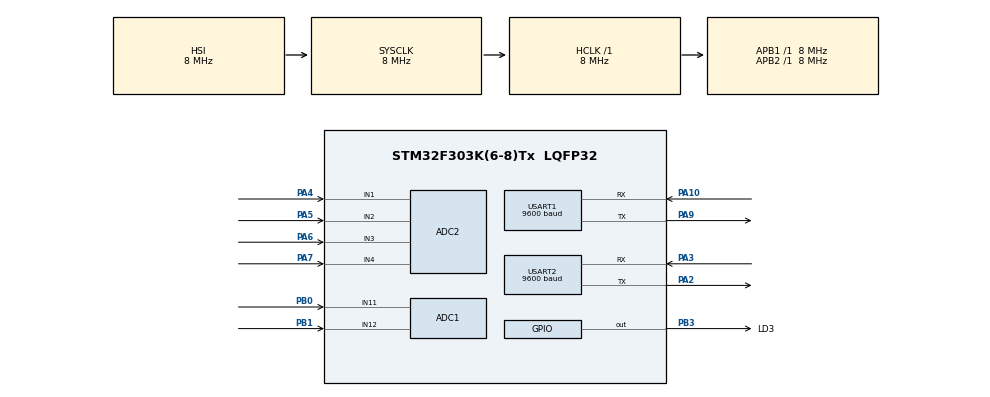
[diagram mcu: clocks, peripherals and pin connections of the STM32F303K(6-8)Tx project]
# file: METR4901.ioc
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ADC1.Channel-52\#ChannelRegularConversion=ADC_CHANNEL_12
ADC1.NbrOfConversionFlag=1
ADC1.Offset-52\#ChannelRegularConversion=0
ADC1.OffsetNumber-52\#ChannelRegularConversion=ADC_OFFSET_NONE
ADC1.Rank-52\#ChannelRegularConversion=1
ADC1.SamplingTime-52\#ChannelRegularConversion=ADC_SAMPLETIME_1CYCLE_5
ADC1.SubFamily=STM32F303x8
ADC1.master=1
ADC2.Channel-10\#ChannelRegularConversion=ADC_CHANNEL_1
ADC2.NbrOfConversionFlag=1
ADC2.Offset-10\#ChannelRegularConversion=0
ADC2.OffsetNumber-10\#ChannelRegularConversion=ADC_OFFSET_NONE
ADC2.Rank-10\#ChannelRegularConversion=1
ADC2.SamplingTime-10\#ChannelRegularConversion=ADC_SAMPLETIME_1CYCLE_5
ADC2.SubFamily=STM32F303x8
FREERTOS.BinarySemaphores01=UART1BinarySem,Dynamic,NULL
FREERTOS.Queues01=UART1Queue,8,uint8_t,0,Dynamic,NULL,NULL;UART2Queue,8,uint8_t,0,Dynamic,NULL,NULL
FREERTOS.Tasks01=defaultTask,0,256,StartDefaultTask,Default,NULL,Dynamic,NULL,NULL
FREERTOS.configMINIMAL_STACK_SIZE=256
FREERTOS.configTOTAL_HEAP_SIZE=4096
Mcu.Family=STM32F3
Mcu.Name=STM32F303K(6-8)Tx
Mcu.Package=LQFP32
NVIC.PriorityGroup=NVIC_PRIORITYGROUP_4
NVIC.TIM1_UP_TIM16_IRQn=true\:0\:0\:false\:false\:true\:false\:false
NVIC.TimeBase=TIM1_UP_TIM16_IRQn
NVIC.TimeBaseIP=TIM1
NVIC.USART1_IRQn=true\:5\:0\:false\:false\:true\:true\:true
NVIC.USART2_IRQn=true\:5\:0\:false\:false\:true\:true\:true
PA10.Mode=Asynchronous
PA10.Signal=USART1_RX
PA2.Mode=Asynchronous
PA2.Signal=USART2_TX
PA3.Mode=Asynchronous
PA3.Signal=USART2_RX
PA4.Mode=IN1-Single-Ended
PA4.Signal=ADC2_IN1
PA5.Mode=IN2-Single-Ended
PA5.Signal=ADC2_IN2
PA6.Mode=IN3-Single-Ended
PA6.Signal=ADC2_IN3
PA7.Mode=IN4-Single-Ended
PA7.Signal=ADC2_IN4
PA9.Mode=Asynchronous
PA9.Signal=USART1_TX
PB0.Mode=IN11-Single-Ended
PB0.Signal=ADC1_IN11
PB1.Mode=IN12-Single-Ended
PB1.Signal=ADC1_IN12
PB3.GPIO_Label=LD3
PB3.Signal=GPIO_Output
ProjectManager.HeapSize=0x200
ProjectManager.StackSize=0x400
ProjectManager.TargetToolchain=SW4STM32
RCC.AHBFreq_Value=8000000
RCC.APB1Freq_Value=8000000
RCC.APB2Freq_Value=8000000
RCC.CortexFreq_Value=8000000
RCC.HSE_VALUE=8000000
RCC.HSI_VALUE=8000000
RCC.PLLMUL=RCC_PLL_MUL4
RCC.SYSCLKFreq_VALUE=8000000
USART1.BaudRate=9600
USART1.VirtualMode-Asynchronous=VM_ASYNC
USART1.WordLength=WORDLENGTH_8B
USART2.BaudRate=9600
USART2.VirtualMode-Asynchronous=VM_ASYNC
USART2.WordLength=WORDLENGTH_8B
VP_FREERTOS_VS_ENABLE.Mode=Enabled
VP_SYS_VS_tim1.Mode=TIM1
board=METR4901

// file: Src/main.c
/**
  ******************************************************************************
  * @file           : main.c
  * @brief          : Main program body
  ******************************************************************************
  * This notice applies to any and all portions of this file
  * that are not between comment pairs USER CODE BEGIN and
  * USER CODE END. Other portions of this file, whether
  * inserted by the user or by software development tools
  * are owned by their respective copyright owners.
  *
  * Copyright (c) 2018 STMicroelectronics International N.V.
  * All rights reserved.
  *
  * Redistribution and use in source and binary forms, with or without
  * modification, are permitted, provided that the following conditions are met:
  *
  * 1. Redistribution of source code must retain the above copyright notice,
  *    this list of conditions and the following disclaimer.
  * 2. Redistributions in binary form must reproduce the above copyright notice,
  *    this list of conditions and the following disclaimer in the documentation
  *    and/or other materials provided with the distribution.
  * 3. Neither the name of STMicroelectronics nor the names of other
  *    contributors to this software may be used to endorse or promote products
  *    derived from this software without specific written permission.
  * 4. This software, including modifications and/or derivative works of this
  *    software, must execute solely and exclusively on microcontroller or
  *    microprocessor devices manufactured by or for STMicroelectronics.
  * 5. Redistribution and use of this software other than as permitted under
  *    this license is void and will automatically terminate your rights under
  *    this license.
  *
  * THIS SOFTWARE IS PROVIDED BY STMICROELECTRONICS AND CONTRIBUTORS "AS IS"
  * AND ANY EXPRESS, IMPLIED OR STATUTORY WARRANTIES, INCLUDING, BUT NOT
  * LIMITED TO, THE IMPLIED WARRANTIES OF MERCHANTABILITY, FITNESS FOR A
  * PARTICULAR PURPOSE AND NON-INFRINGEMENT OF THIRD PARTY INTELLECTUAL PROPERTY
  * RIGHTS ARE DISCLAIMED TO THE FULLEST EXTENT PERMITTED BY LAW. IN NO EVENT
  * SHALL STMICROELECTRONICS OR CONTRIBUTORS BE LIABLE FOR ANY DIRECT, INDIRECT,
  * INCIDENTAL, SPECIAL, EXEMPLARY, OR CONSEQUENTIAL DAMAGES (INCLUDING, BUT NOT
  * LIMITED TO, PROCUREMENT OF SUBSTITUTE GOODS OR SERVICES; LOSS OF USE, DATA,
  * OR PROFITS; OR BUSINESS INTERRUPTION) HOWEVER CAUSED AND ON ANY THEORY OF
  * LIABILITY, WHETHER IN CONTRACT, STRICT LIABILITY, OR TORT (INCLUDING
  * NEGLIGENCE OR OTHERWISE) ARISING IN ANY WAY OUT OF THE USE OF THIS SOFTWARE,
  * EVEN IF ADVISED OF THE POSSIBILITY OF SUCH DAMAGE.
  *
  ******************************************************************************
  */
#include "main.h"
#include "stm32f3xx_hal.h"
#include "cmsis_os.h"

/* USER CODE BEGIN Includes */
#include "stdlib.h"
#include "stdio.h"
#include "string.h"
#include "msgProcessing.h"
#include "deviceParameters.h"
#include "inttypes.h"
/* USER CODE END Includes */

ADC_HandleTypeDef hadc1;
ADC_HandleTypeDef hadc2;

UART_HandleTypeDef huart1;
UART_HandleTypeDef huart2;

osThreadId defaultTaskHandle;
osMessageQId UART1QueueHandle;
osMessageQId UART2QueueHandle;
osSemaphoreId UART1BinarySemHandle;

/* USER CODE BEGIN PV */
/* Private variables ---------------------------------------------------------*/
#define TXRXBUFFERSIZE	100
#define TRUE			1
#define FALSE			0
#define VERBOSE			TRUE

char* TX1Buffer;
char* TX2Buffer;
char* generalBuffer;
char RX1Buffer_Flag;

int ticker;

osThreadId UART1RXTaskHandle;
osThreadId UART2RXTaskHandle;

HAL_StatusTypeDef status;

QueueHandle_t msgQueueHandle;

struct MSG {
	uint8_t type;
	uint8_t ID;
	uint8_t sign;
	uint32_t value;
};

/* USER CODE END PV */

void SystemClock_Config(void);
static void MX_GPIO_Init(void);
static void MX_USART2_UART_Init(void);
static void MX_ADC2_Init(void);
static void MX_USART1_UART_Init(void);
static void MX_ADC1_Init(void);
void StartDefaultTask(void const * argument);

/* USER CODE BEGIN PFP */
/* Private function prototypes -----------------------------------------------*/
void StartUART1ReceiveTask(void const * argument);
void StartUART2ReceiveTask(void const * argument);
void HAL_UART_RxCpltCallback(UART_HandleTypeDef *huart);
void transmit(int channel, char* b);
void toMsg(char* b, char* msg);
void initMsg(struct MSG msg);

/* USER CODE END PFP */

int main(void)
{
  /* USER CODE BEGIN 1 */
	TX1Buffer = (char*) malloc(sizeof(char) * TXRXBUFFERSIZE);
	TX2Buffer = (char*) malloc(sizeof(char) * TXRXBUFFERSIZE);
	generalBuffer = (char*) malloc(sizeof(char) * TXRXBUFFERSIZE);

  /* USER CODE END 1 */

  /* MCU Configuration----------------------------------------------------------*/

  /* Reset of all peripherals, Initializes the Flash interface and the Systick. */
  HAL_Init();

  /* Configure the system clock */
  SystemClock_Config();

  /* Initialize all configured peripherals */
  MX_GPIO_Init();
  MX_USART2_UART_Init();
  MX_ADC2_Init();
  MX_USART1_UART_Init();
  MX_ADC1_Init();

  /* Create the semaphores(s) */
  /* definition and creation of UART1BinarySem */
  osSemaphoreDef(UART1BinarySem);
  UART1BinarySemHandle = osSemaphoreCreate(osSemaphore(UART1BinarySem), 1);

  /* Create the thread(s) */
  /* definition and creation of defaultTask */
  osThreadDef(defaultTask, StartDefaultTask, osPriorityNormal, 0, 256);
  defaultTaskHandle = osThreadCreate(osThread(defaultTask), NULL);

  /* USER CODE BEGIN RTOS_THREADS */
  osThreadDef(UART1RXTask, StartUART1ReceiveTask, osPriorityNormal, 0, 128);
  UART1RXTaskHandle = osThreadCreate(osThread(UART1RXTask), NULL);
  osThreadDef(UART2RXTask, StartUART2ReceiveTask, osPriorityNormal, 0, 128);
  UART2RXTaskHandle = osThreadCreate(osThread(UART2RXTask), NULL);
  /* USER CODE END RTOS_THREADS */

  /* Create the queue(s) */
  /* definition and creation of UART1Queue */
  osMessageQDef(UART1Queue, 8, uint8_t);
  UART1QueueHandle = osMessageCreate(osMessageQ(UART1Queue), NULL);

  /* definition and creation of UART2Queue */
  osMessageQDef(UART2Queue, 8, uint8_t);
  UART2QueueHandle = osMessageCreate(osMessageQ(UART2Queue), NULL);

  /* USER CODE BEGIN RTOS_QUEUES */
	msgQueueHandle = xQueueCreate(2, sizeof(struct MSG));
	HAL_GPIO_WritePin(LD3_GPIO_Port, LD3_Pin, 0);

	//Start receiving
	toMsg(generalBuffer, "\n\r\n\r\n\r>>BOOTING\n\r");
	transmit(1, generalBuffer);
	transmit(2, generalBuffer);

	if (msgQueueHandle == NULL) {
		toMsg(generalBuffer, ">>msgQueue Creation Failed\n\r");
		transmit(1, generalBuffer);
		transmit(2, generalBuffer);
	}

	osDelay(1000);

  /* USER CODE END RTOS_QUEUES */

  /* Start scheduler */
  osKernelStart();

  /* We should never get here as control is now taken by the scheduler */

  /* Infinite loop */
  /* USER CODE BEGIN WHILE */
  HAL_GPIO_WritePin(LD3_GPIO_Port, LD3_Pin, 1);
	while (1) {

  /* USER CODE END WHILE */

  /* USER CODE BEGIN 3 */

		toMsg(generalBuffer,
				">>YOU SHOULD NEVER SEE THIS: SCHEDULER FAILED\n\r");
		transmit(1, generalBuffer);
		transmit(2, generalBuffer);

	}
  /* USER CODE END 3 */

}

void SystemClock_Config(void)
{

  RCC_OscInitTypeDef RCC_OscInitStruct;
  RCC_ClkInitTypeDef RCC_ClkInitStruct;
  RCC_PeriphCLKInitTypeDef PeriphClkInit;

    /**Initializes the CPU, AHB and APB busses clocks
    */
  RCC_OscInitStruct.OscillatorType = RCC_OSCILLATORTYPE_HSI;
  RCC_OscInitStruct.HSIState = RCC_HSI_ON;
  RCC_OscInitStruct.HSICalibrationValue = 16;
  RCC_OscInitStruct.PLL.PLLState = RCC_PLL_ON;
  RCC_OscInitStruct.PLL.PLLSource = RCC_PLLSOURCE_HSI;
  RCC_OscInitStruct.PLL.PLLMUL = RCC_PLL_MUL4;
  if (HAL_RCC_OscConfig(&RCC_OscInitStruct) != HAL_OK)
  {
    _Error_Handler(__FILE__, __LINE__);
  }

    /**Initializes the CPU, AHB and APB busses clocks
    */
  RCC_ClkInitStruct.ClockType = RCC_CLOCKTYPE_HCLK|RCC_CLOCKTYPE_SYSCLK
                              |RCC_CLOCKTYPE_PCLK1|RCC_CLOCKTYPE_PCLK2;
  RCC_ClkInitStruct.SYSCLKSource = RCC_SYSCLKSOURCE_HSI;
  RCC_ClkInitStruct.AHBCLKDivider = RCC_SYSCLK_DIV1;
  RCC_ClkInitStruct.APB1CLKDivider = RCC_HCLK_DIV1;
  RCC_ClkInitStruct.APB2CLKDivider = RCC_HCLK_DIV1;

  if (HAL_RCC_ClockConfig(&RCC_ClkInitStruct, FLASH_LATENCY_0) != HAL_OK)
  {
    _Error_Handler(__FILE__, __LINE__);
  }

  PeriphClkInit.PeriphClockSelection = RCC_PERIPHCLK_USART1|RCC_PERIPHCLK_ADC12;
  PeriphClkInit.Usart1ClockSelection = RCC_USART1CLKSOURCE_PCLK1;
  PeriphClkInit.Adc12ClockSelection = RCC_ADC12PLLCLK_DIV1;
  if (HAL_RCCEx_PeriphCLKConfig(&PeriphClkInit) != HAL_OK)
  {
    _Error_Handler(__FILE__, __LINE__);
  }

    /**Configure the Systick interrupt time
    */
  HAL_SYSTICK_Config(HAL_RCC_GetHCLKFreq()/1000);

    /**Configure the Systick
    */
  HAL_SYSTICK_CLKSourceConfig(SYSTICK_CLKSOURCE_HCLK);

  /* SysTick_IRQn interrupt configuration */
  HAL_NVIC_SetPriority(SysTick_IRQn, 15, 0);
}

/* ADC1 init function */
static void MX_ADC1_Init(void)
{

  ADC_MultiModeTypeDef multimode;
  ADC_ChannelConfTypeDef sConfig;

    /**Common config
    */
  hadc1.Instance = ADC1;
  hadc1.Init.ClockPrescaler = ADC_CLOCK_ASYNC_DIV1;
  hadc1.Init.Resolution = ADC_RESOLUTION_12B;
  hadc1.Init.ScanConvMode = ADC_SCAN_DISABLE;
  hadc1.Init.ContinuousConvMode = DISABLE;
  hadc1.Init.DiscontinuousConvMode = DISABLE;
  hadc1.Init.ExternalTrigConvEdge = ADC_EXTERNALTRIGCONVEDGE_NONE;
  hadc1.Init.ExternalTrigConv = ADC_SOFTWARE_START;
  hadc1.Init.DataAlign = ADC_DATAALIGN_RIGHT;
  hadc1.Init.NbrOfConversion = 1;
  hadc1.Init.DMAContinuousRequests = DISABLE;
  hadc1.Init.EOCSelection = ADC_EOC_SINGLE_CONV;
  hadc1.Init.LowPowerAutoWait = DISABLE;
  hadc1.Init.Overrun = ADC_OVR_DATA_OVERWRITTEN;
  if (HAL_ADC_Init(&hadc1) != HAL_OK)
  {
    _Error_Handler(__FILE__, __LINE__);
  }

    /**Configure the ADC multi-mode
    */
  multimode.Mode = ADC_MODE_INDEPENDENT;
  if (HAL_ADCEx_MultiModeConfigChannel(&hadc1, &multimode) != HAL_OK)
  {
    _Error_Handler(__FILE__, __LINE__);
  }

    /**Configure Regular Channel
    */
  sConfig.Channel = ADC_CHANNEL_12;
  sConfig.Rank = ADC_REGULAR_RANK_1;
  sConfig.SingleDiff = ADC_SINGLE_ENDED;
  sConfig.SamplingTime = ADC_SAMPLETIME_1CYCLE_5;
  sConfig.OffsetNumber = ADC_OFFSET_NONE;
  sConfig.Offset = 0;
  if (HAL_ADC_ConfigChannel(&hadc1, &sConfig) != HAL_OK)
  {
    _Error_Handler(__FILE__, __LINE__);
  }

}

/* ADC2 init function */
static void MX_ADC2_Init(void)
{

  ADC_ChannelConfTypeDef sConfig;

    /**Common config
    */
  hadc2.Instance = ADC2;
  hadc2.Init.ClockPrescaler = ADC_CLOCK_ASYNC_DIV1;
  hadc2.Init.Resolution = ADC_RESOLUTION_12B;
  hadc2.Init.ScanConvMode = ADC_SCAN_DISABLE;
  hadc2.Init.ContinuousConvMode = DISABLE;
  hadc2.Init.DiscontinuousConvMode = DISABLE;
  hadc2.Init.ExternalTrigConvEdge = ADC_EXTERNALTRIGCONVEDGE_NONE;
  hadc2.Init.ExternalTrigConv = ADC_SOFTWARE_START;
  hadc2.Init.DataAlign = ADC_DATAALIGN_RIGHT;
  hadc2.Init.NbrOfConversion = 1;
  hadc2.Init.DMAContinuousRequests = DISABLE;
  hadc2.Init.EOCSelection = ADC_EOC_SINGLE_CONV;
  hadc2.Init.LowPowerAutoWait = DISABLE;
  hadc2.Init.Overrun = ADC_OVR_DATA_OVERWRITTEN;
  if (HAL_ADC_Init(&hadc2) != HAL_OK)
  {
    _Error_Handler(__FILE__, __LINE__);
  }

    /**Configure Regular Channel
    */
  sConfig.Channel = ADC_CHANNEL_1;
  sConfig.Rank = ADC_REGULAR_RANK_1;
  sConfig.SingleDiff = ADC_SINGLE_ENDED;
  sConfig.SamplingTime = ADC_SAMPLETIME_1CYCLE_5;
  sConfig.OffsetNumber = ADC_OFFSET_NONE;
  sConfig.Offset = 0;
  if (HAL_ADC_ConfigChannel(&hadc2, &sConfig) != HAL_OK)
  {
    _Error_Handler(__FILE__, __LINE__);
  }

}

/* USART1 init function */
static void MX_USART1_UART_Init(void)
{

  huart1.Instance = USART1;
  huart1.Init.BaudRate = 9600;
  huart1.Init.WordLength = UART_WORDLENGTH_8B;
  huart1.Init.StopBits = UART_STOPBITS_1;
  huart1.Init.Parity = UART_PARITY_NONE;
  huart1.Init.Mode = UART_MODE_TX_RX;
  huart1.Init.HwFlowCtl = UART_HWCONTROL_NONE;
  huart1.Init.OverSampling = UART_OVERSAMPLING_16;
  huart1.Init.OneBitSampling = UART_ONE_BIT_SAMPLE_DISABLE;
  huart1.AdvancedInit.AdvFeatureInit = UART_ADVFEATURE_NO_INIT;
  if (HAL_UART_Init(&huart1) != HAL_OK)
  {
    _Error_Handler(__FILE__, __LINE__);
  }

}

/* USART2 init function */
static void MX_USART2_UART_Init(void)
{

  huart2.Instance = USART2;
  huart2.Init.BaudRate = 9600;
  huart2.Init.WordLength = UART_WORDLENGTH_8B;
  huart2.Init.StopBits = UART_STOPBITS_1;
  huart2.Init.Parity = UART_PARITY_NONE;
  huart2.Init.Mode = UART_MODE_TX_RX;
  huart2.Init.HwFlowCtl = UART_HWCONTROL_NONE;
  huart2.Init.OverSampling = UART_OVERSAMPLING_16;
  huart2.Init.OneBitSampling = UART_ONE_BIT_SAMPLE_DISABLE;
  huart2.AdvancedInit.AdvFeatureInit = UART_ADVFEATURE_NO_INIT;
  if (HAL_UART_Init(&huart2) != HAL_OK)
  {
    _Error_Handler(__FILE__, __LINE__);
  }

}

/** Configure pins as
        * Analog
        * Input
        * Output
        * EVENT_OUT
        * EXTI
*/
static void MX_GPIO_Init(void)
{

  GPIO_InitTypeDef GPIO_InitStruct;

  /* GPIO Ports Clock Enable */
  __HAL_RCC_GPIOA_CLK_ENABLE();
  __HAL_RCC_GPIOB_CLK_ENABLE();

  /*Configure GPIO pin Output Level */
  HAL_GPIO_WritePin(LD3_GPIO_Port, LD3_Pin, GPIO_PIN_RESET);

  /*Configure GPIO pin : LD3_Pin */
  GPIO_InitStruct.Pin = LD3_Pin;
  GPIO_InitStruct.Mode = GPIO_MODE_OUTPUT_PP;
  GPIO_InitStruct.Pull = GPIO_NOPULL;
  GPIO_InitStruct.Speed = GPIO_SPEED_FREQ_LOW;
  HAL_GPIO_Init(LD3_GPIO_Port, &GPIO_InitStruct);

}

/* USER CODE BEGIN 4 */
void HAL_UART_RxCpltCallback(UART_HandleTypeDef *huart) {
	//Check if UART1
	if (huart->Instance == USART1) {
		uint8_t byte;
		//Receive one byte
		HAL_UART_Receive_IT(&huart1, &byte, 1);
		//Send byte to queue
		if (xQueueSendToBackFromISR(UART1QueueHandle, (void * ) &byte,
				NULL) != pdTRUE) {
			Error_Handler();
		}
	}
	//Check if UART2
	if (huart->Instance == USART2) {
		uint8_t byte;
		//Receive one byte
		HAL_UART_Receive_IT(&huart2, &byte, 1);
		//Send byte to queue
		if (xQueueSendToBackFromISR(UART2QueueHandle, (void * ) &byte,
				NULL) != pdTRUE) {
			Error_Handler();
		}
	}

}

/* StartUART1TransmitTask function */
void transmit(int channel, char* b) {
	UART_HandleTypeDef c;
	if (channel == 1) {
		c = huart1;
	} else {
		c = huart2;
	}

	if (HAL_UART_Transmit(&c, (uint8_t*) b,
	TXRXBUFFERSIZE, 1000) != HAL_OK) {
		Error_Handler();
	}
}

/* StartUART1TransmitTask function */
void toMsg(char* b, char* msg) {
	memset(b, 0, TXRXBUFFERSIZE);
	sprintf(b, msg);
	return;
}

/* StartUART1TransmitTask function */
void StartUART1ReceiveTask(void const * argument) {
	uint8_t byte;
	memset(TX1Buffer, 0, TXRXBUFFERSIZE);
	sprintf(TX1Buffer, ">>StartUART1TransmitTask: %d\n\r", getEGO());
	transmit(1, TX1Buffer);

	struct MSG msg;

	initMsg(msg);

	osDelay(1000);
	HAL_UART_Receive_IT(&huart1, &byte, 1);
	memset(TX1Buffer, 0, TXRXBUFFERSIZE);
	for (;;) {
		//Check messages from queue
		if (uxQueueMessagesWaiting(UART1QueueHandle) > 0) {
			while (uxQueueMessagesWaiting(UART1QueueHandle) > 0) {
				//Get messages from queue
				xQueueReceive(UART1QueueHandle, &(byte), (TickType_t ) 10);

				if (VERBOSE) {
					memset(TX1Buffer, 0, TXRXBUFFERSIZE);
					sprintf(TX1Buffer, "\n\rGOT: |%c|%d|)", byte, byte);
					transmit(1, TX1Buffer);
				}

				if (aLetter(byte)) {
					// Read message
					if (readMSG(&msg, UART1QueueHandle, byte)) {
						contructMSG(TX1Buffer, &msg,
						TXRXBUFFERSIZE);
						transmit(2, TX1Buffer);
						if (VERBOSE) {
							transmit(1, TX1Buffer);
						}
						if (xQueueSendToBack(msgQueueHandle, (void * ) &msg,
								NULL) != pdTRUE) {
							Error_Handler();
						}

					}

				}
			}
		}
		osDelay(125);
	}
}

/* StartUART2TransmitTask function */
void StartUART2ReceiveTask(void const * argument) {

	uint8_t byte;
	memset(TX2Buffer, 0, TXRXBUFFERSIZE);
	sprintf(TX2Buffer, ">>StartUART2TransmitTask: %d\n\r", getEGO());
	transmit(2, TX2Buffer);

	struct MSG msg;

	initMsg(msg);

	osDelay(1000);
	HAL_UART_Receive_IT(&huart2, &byte, 1);
	memset(TX2Buffer, 0, TXRXBUFFERSIZE);
	for (;;) {
		//Check messages from queue
		if (uxQueueMessagesWaiting(UART2QueueHandle) > 0) {
			while (uxQueueMessagesWaiting(UART2QueueHandle) > 0) {
				//Get messages from queue
				xQueueReceive(UART2QueueHandle, &(byte), (TickType_t ) 10);

				if (VERBOSE) {
					memset(TX2Buffer, 0, TXRXBUFFERSIZE);
					sprintf(TX2Buffer, "\n\rGOT: |%c|%d|)", byte, byte);
					transmit(2, TX2Buffer);
				}

				if (aLetter(byte)) {
					// Read message
					if (readMSG(&msg, UART2QueueHandle, byte)) {
						contructMSG(TX2Buffer, &msg,
						TXRXBUFFERSIZE);
						transmit(1, TX2Buffer);
						if (VERBOSE) {

							transmit(2, TX2Buffer);
						}
						if (xQueueSendToBack(msgQueueHandle, (void * ) &msg,
								NULL) != pdTRUE) {
							Error_Handler();
						}

					}

				}
			}
		}
		osDelay(125);
	}
}

/**
 * @brief  initialise a message structure
 */
void initMsg(struct MSG msg) {
	msg.type = 1;
	msg.ID = 0;
	msg.sign = 0;
	msg.value = 0;
	return;
}

/* USER CODE END 4 */

/* StartDefaultTask function */
void StartDefaultTask(void const * argument)
{

  /* USER CODE BEGIN 5 */

	struct MSG message;
	ticker = 0;
	int wait;
	osDelay(1000);

	/* Infinite loop */
	for (;;) {
		HAL_GPIO_TogglePin(LD3_GPIO_Port, LD3_Pin);
		osDelay(25);
		ticker = (ticker + 1) % 10;
		if (!ticker) {
			toMsg(generalBuffer, "*");
			transmit(1, generalBuffer);
			transmit(2, generalBuffer);

		}

		if (uxQueueMessagesWaiting(msgQueueHandle) > 0) {
			while (uxQueueMessagesWaiting(msgQueueHandle) > 0) {
				//Get messages from queue
				xQueueReceive(msgQueueHandle, &(message), (TickType_t ) 10);
				contructMSG(generalBuffer, &message, TXRXBUFFERSIZE);
				//transmit(2, generalBuffer);
				//transmit(1, generalBuffer);
			}
			ticker = 1;
		}
	}
  /* USER CODE END 5 */
}

void HAL_TIM_PeriodElapsedCallback(TIM_HandleTypeDef *htim)
{
  if (htim->Instance == TIM1) {
    HAL_IncTick();
  }
}

void _Error_Handler(char *file, int line)
{
  /* USER CODE BEGIN Error_Handler_Debug */
	/* User can add his own implementation to report the HAL error return state */
	while (1) {
		HAL_GPIO_TogglePin(LD3_GPIO_Port, LD3_Pin);
		osDelay(1000);
	}
  /* USER CODE END Error_Handler_Debug */
}

/************************ (C) COPYRIGHT STMicroelectronics *****END OF FILE****/
